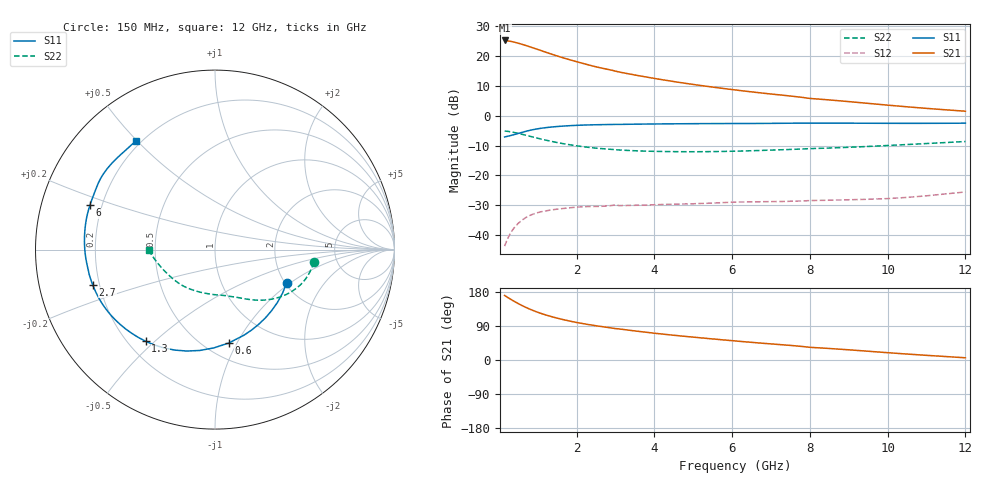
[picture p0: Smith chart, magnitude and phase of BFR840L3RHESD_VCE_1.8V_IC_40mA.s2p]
! Infineon Technologies  Discrete & RF Semiconductors
! BFR840L3RHESD
! VCE =  1.8 V,  IC =  40 mA
! Common Emitter S-Parameters:  Jun 2012
# GHz  S  MA  R  50
!  f  S11  S21  S12  S22
! GHz  MAG  ANG  MAG  ANG  MAG  ANG  MAG  ANG
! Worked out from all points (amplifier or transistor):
!   91 points, 150 MHz to 12 GHz, reference 50 ohm
!   highest |S21| = 25.2 dB at 150 MHz (marker M1)
!   |S21| within 3 dB of that: start of sweep to 998.8 MHz
!   unconditionally stable (mu >= 1): start of sweep to 586 MHz; 2.309 GHz to end of sweep
!   at 1.3 GHz: K = 0.82, MSG = 26.3 dB, |S12| = -31.7 dB
!   at 4.3 GHz: K = 1.60, MAG = 16.3 dB, |S12| = -29.7 dB
!   at 12 GHz: K = 3.14, MAG = 5.7 dB, |S12| = -25.6 dB
!   S11 on the Smith chart (normalised r, x): 150 MHz: 2.03, -0.94; 600 MHz: 0.64, -0.93; 1.3 GHz: 0.27, -0.47; 2.7 GHz: 0.17, -0.14; 6 GHz: 0.15, +0.17; 12 GHz: 0.18, +0.50
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0.15  0.4403 -25.1  18.26 170.4  0.0065 51.8  0.5535 -7.2
0.25  0.4556 -40.1  17.93 163.8  0.0093 58.3  0.544 -12.9
0.4  0.4828 -60.0  17.09 154.6  0.0133 55.3  0.5227 -20.3
0.5  0.5039 -71.5  16.42 148.9  0.0157 52.0  0.5058 -24.6
0.6  0.5261 -81.7  15.72 143.6  0.0178 48.8  0.4879 -28.5
0.7  0.5479 -90.7  15 138.6  0.0197 46.2  0.4699 -32.1
0.9  0.5869 -105.6  13.59 129.9  0.0226 42.1  0.4354 -38.4
1.1  0.6174 -117.5  12.27 122.4  0.0246 39.1  0.4045 -43.7
1.3  0.6405 -127.1  11.08 116.1  0.026 36.5  0.3779 -48.3
1.5  0.6584 -135.1  10.04 110.5  0.0271 34.1  0.3553 -52.2
1.7  0.6729 -141.7  9.156 105.6  0.028 31.9  0.3361 -55.7
1.9  0.6845 -147.3  8.396 101.1  0.0289 30.0  0.32 -58.9
2.2  0.6972 -154.5  7.419 95.4  0.0298 28.2  0.3005 -63.3
2.7  0.7091 -164.0  6.175 87.4  0.0304 27.3  0.2789 -70.1
3.3  0.7178 -173.2  5.09 79.3  0.0313 26.7  0.262 -77.8
4.2  0.7288 176.4  4.015 68.5  0.0325 27.3  0.2513 -89.9
5  0.7351 168.7  3.343 60.3  0.0334 28.2  0.2489 -100.6
6  0.7394 160.4  2.744 51.0  0.0354 30.5  0.2537 -114.3
6.1  0.7396 159.6  2.694 50.1  0.0355 30.7  0.2545 -115.6
8.5  0.751 143.1  1.839 30.4  0.0383 35.9  0.287 -146.5
10.5  0.7447 132.2  1.409 15.7  0.0427 44.9  0.3287 -166.9
12  0.7494 125.8  1.19 5.8  0.0527 48.6  0.3692 -179.5
